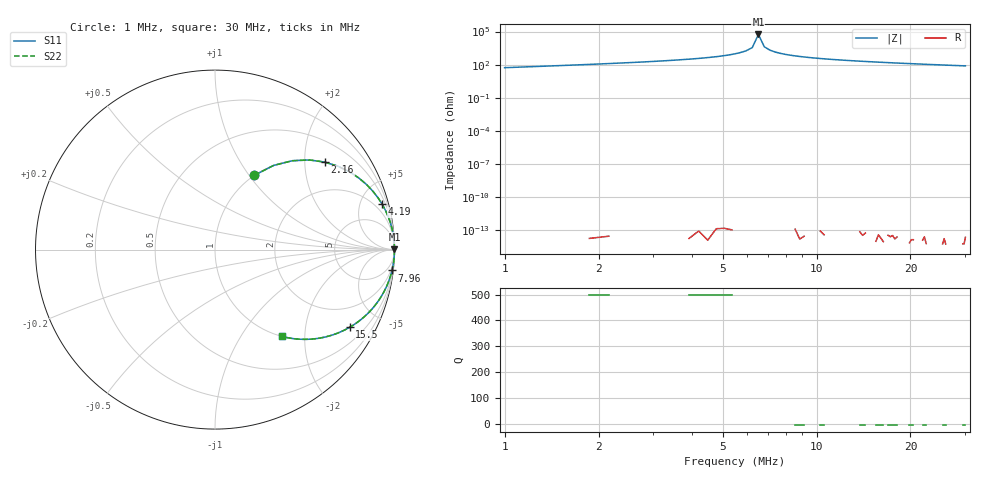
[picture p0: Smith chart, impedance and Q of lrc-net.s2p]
# HZ S RI R 50
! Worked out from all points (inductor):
!   101 points, 1 MHz to 30 MHz, reference 50 ohm
!   read as one part in series: L = 8.25 uH near 1 MHz
!   highest |Z| = 54.6 kohm at 6.51 MHz (marker M1)
!   self-resonance near 6.51 MHz
!   S11 on the Smith chart (normalised r, x): 1 MHz: 1.00, +1.06; 2.16 MHz: 1.00, +2.51; 4.19 MHz: 1.00, +7.38; 7.96 MHz: 1, -17; 15.5 MHz: 1.00, -3.47; 30 MHz: 1.00, -1.55
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1000000  0.2198 0.4141  0.7802 -0.4141  0.7802 -0.4141  0.2198 0.4141
1580000  0.4308 0.4952  0.5692 -0.4952  0.5692 -0.4952  0.4308 0.4952
2160000  0.6125 0.4872  0.3875 -0.4872  0.3875 -0.4872  0.6125 0.4872
3030000  0.8002 0.3998  0.1998 -0.3998  0.1998 -0.3998  0.8002 0.3998
4190000  0.9316 0.2524  0.0684 -0.2524  0.0684 -0.2524  0.9316 0.2524
4770000  0.9656 0.1822  0.0344 -0.1822  0.0344 -0.1822  0.9656 0.1822
5350000  0.9861 0.1169  0.0139 -0.1169  0.0139 -0.1169  0.9861 0.1169
5640000  0.9925 0.0862  0.0075 -0.0862  0.0075 -0.0862  0.9925 0.0862
5930000  0.9968 0.0569  0.00324 -0.0569  0.00324 -0.0569  0.9968 0.0569
6220000  0.9992 0.0287  0.000827 -0.0287  0.000827 -0.0287  0.9992 0.0287
6510000  1 0.00183  3.35e-06 -0.00183  3.35e-06 -0.00183  1 0.00183
6800000  0.9994 -0.0239  0.000572 0.0239  0.000572 0.0239  0.9994 -0.0239
7090000  0.9976 -0.0485  0.00236 0.0485  0.00236 0.0485  0.9976 -0.0485
7380000  0.9948 -0.0721  0.00522 0.0721  0.00522 0.0721  0.9948 -0.0721
7960000  0.9863 -0.1161  0.0137 0.1161  0.0137 0.1161  0.9863 -0.1161
9120000  0.9611 -0.1932  0.0389 0.1932  0.0389 0.1932  0.9611 -0.1932
1.086e7  0.9104 -0.2856  0.0896 0.2856  0.0896 0.2856  0.9104 -0.2856
1.289e7  0.8418 -0.3649  0.1582 0.3649  0.1582 0.3649  0.8418 -0.3649
1.55e7  0.7504 -0.4328  0.2496 0.4328  0.2496 0.4328  0.7504 -0.4328
2.043e7  0.5922 -0.4914  0.4078 0.4914  0.4078 0.4914  0.5922 -0.4914
2.536e7  0.4657 -0.4988  0.5343 0.4988  0.5343 0.4988  0.4657 -0.4988
3e7  0.3743 -0.4839  0.6257 0.4839  0.6257 0.4839  0.3743 -0.4839
